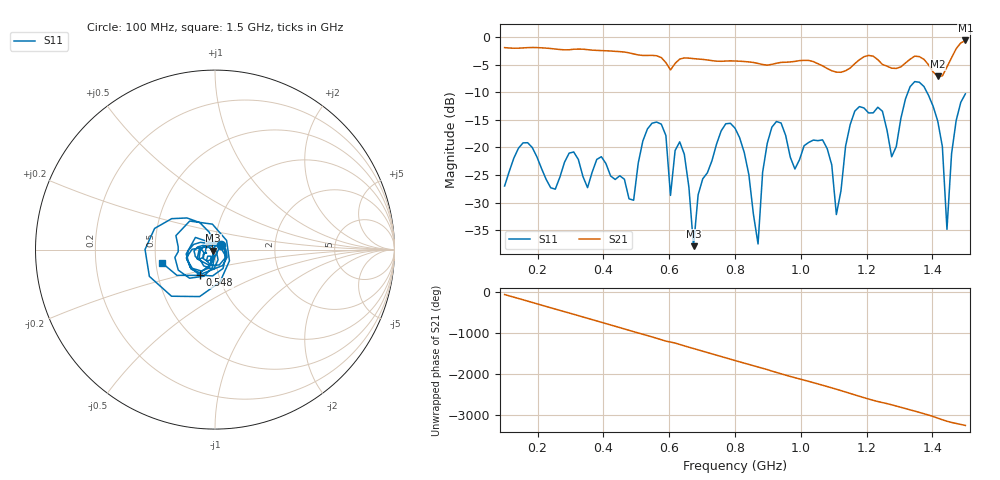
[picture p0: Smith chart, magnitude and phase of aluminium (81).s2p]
! NanoVNA-App
! Date: 2025-09-26 09:58:41
! Start: 100MHz Stop: 1,5GHz Points: 101
! S-Parameter data: F S11 S21 S12 S22
# Hz S RI R 50
!  Frequency  S11_Real  S11_Imag  S21_Real  S21_Imag  S12_Real  S12_Imag  S22_Real  S22_Imag
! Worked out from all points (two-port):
!   101 points, 100 MHz to 1.5 GHz, reference 50 ohm
!   highest |S21| = -0.61 dB at 1.5 GHz (marker M1); lowest = -7.1 dB at 1.416 GHz (marker M2)
!   |S21| within 3 dB of the highest: start of sweep to 571.8 MHz; 1.191 GHz to 1.223 GHz (32.63 MHz wide, 2.7 % of centre)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
!   lowest |S11| = -37.9 dB at 674 MHz (marker M3), VSWR 1.03, Z = 48.9 - j0.647 ohm
!   |S11| at or under -10 dB: start of sweep to 1.326 GHz; 1.383 GHz to end of sweep
!   S12 and S22 are empty: the file has one direction only
!   S11 on the Smith chart (normalised r, x): 100 MHz: 1.07, +0.06; 548 MHz: 0.81, -0.24; 1.5 GHz: 0.54, -0.09
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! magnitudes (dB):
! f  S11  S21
! 100 MHz  -27.0  -1.9
! 156 MHz  -19.2  -2.0
! 338 MHz  -25.3  -2.2
! 492 MHz  -29.6  -3.1
! 548 MHz  -15.6  -3.3
! 576 MHz  -15.8  -3.7
! 604 MHz  -28.7  -6.0
! 646 MHz  -21.2  -3.8
! 674 MHz  -37.9  -3.9
! 702 MHz  -25.7  -4.0
! 800 MHz  -16.5  -4.3
! 870 MHz  -37.5  -4.8
! 912 MHz  -16.3  -4.9
! 1.038 GHz  -18.7  -4.4
! 1.108 GHz  -32.2  -6.4
! 1.164 GHz  -13.4  -4.8
! 1.276 GHz  -21.7  -5.6
! 1.346 GHz  -8.1  -3.5
! 1.416 GHz  -15.2  -7.1
! 1.444 GHz  -34.9  -5.4
! 1.458 GHz  -21.2  -3.8
! 1.5 GHz  -10.3  -0.6
